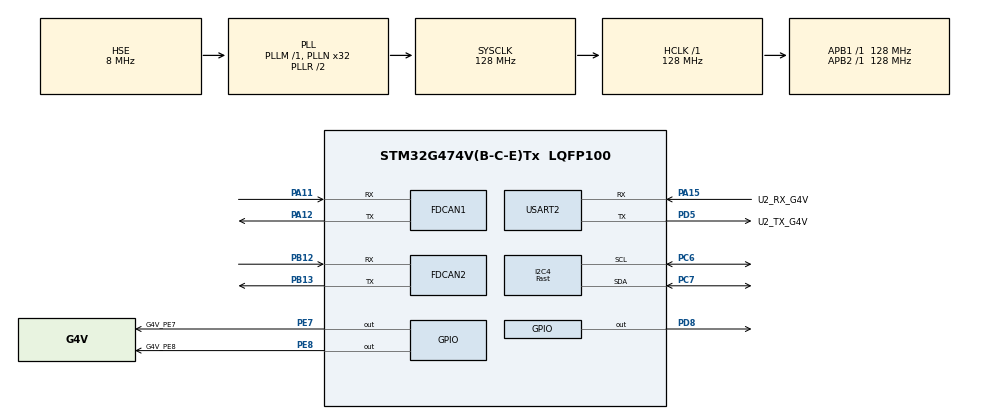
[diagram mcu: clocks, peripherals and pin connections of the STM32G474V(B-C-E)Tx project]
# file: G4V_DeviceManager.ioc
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FDCAN1.AutoRetransmission=ENABLE
FDCAN1.CalculateBaudRateNominal=1000000
FDCAN1.CalculateTimeBitNominal=1000
FDCAN1.CalculateTimeQuantumNominal=62.5
FDCAN1.DataPrescaler=4
FDCAN1.DataSyncJumpWidth=10
FDCAN1.DataTimeSeg1=10
FDCAN1.DataTimeSeg2=5
FDCAN1.ExtFiltersNbr=8
FDCAN1.FrameFormat=FDCAN_FRAME_CLASSIC
FDCAN1.Mode=FDCAN_MODE_NORMAL
FDCAN1.NominalPrescaler=8
FDCAN1.NominalSyncJumpWidth=10
FDCAN1.NominalTimeSeg1=10
FDCAN1.NominalTimeSeg2=5
FDCAN1.StdFiltersNbr=16
FDCAN2.AutoRetransmission=ENABLE
FDCAN2.CalculateBaudRateNominal=200000
FDCAN2.CalculateTimeBitNominal=5000
FDCAN2.CalculateTimeQuantumNominal=250.0
FDCAN2.DataPrescaler=10
FDCAN2.DataSyncJumpWidth=10
FDCAN2.DataTimeSeg1=8
FDCAN2.DataTimeSeg2=3
FDCAN2.NominalPrescaler=32
FDCAN2.NominalSyncJumpWidth=10
FDCAN2.NominalTimeSeg1=9
FDCAN2.NominalTimeSeg2=10
FDCAN2.StdFiltersNbr=16
I2C4.CustomTiming=Enabled
I2C4.I2C_Speed_Mode=I2C_Fast
I2C4.Timing=0x20A0C4DF
IWDG.Prescaler=IWDG_PRESCALER_64
IWDG.Reload=625
Mcu.Family=STM32G4
Mcu.Name=STM32G474V(B-C-E)Tx
Mcu.Package=LQFP100
NVIC.FDCAN1_IT0_IRQn=true\:0\:0\:false\:false\:true\:true\:true\:true
NVIC.FDCAN1_IT1_IRQn=true\:0\:0\:false\:false\:true\:true\:true\:true
NVIC.PriorityGroup=NVIC_PRIORITYGROUP_4
NVIC.USART2_IRQn=true\:0\:0\:false\:false\:true\:true\:true\:true
PA11.Mode=FDCAN_Activate
PA11.Signal=FDCAN1_RX
PA12.Mode=FDCAN_Activate
PA12.Signal=FDCAN1_TX
PA13.Mode=Serial_Wire
PA13.Signal=SYS_JTMS-SWDIO
PA14.Mode=Serial_Wire
PA14.Signal=SYS_JTCK-SWCLK
PA15.GPIO_Label=U2_RX_G4V
PA15.GPIO_Speed=GPIO_SPEED_FREQ_HIGH
PA15.Mode=Asynchronous
PA15.Signal=USART2_RX
PB12.Mode=FDCAN_Activate
PB12.Signal=FDCAN2_RX
PB13.Mode=FDCAN_Activate
PB13.Signal=FDCAN2_TX
PC6.Mode=I2C
PC6.Signal=I2C4_SCL
PC7.Mode=I2C
PC7.Signal=I2C4_SDA
PD5.GPIO_Label=U2_TX_G4V
PD5.GPIO_Speed=GPIO_SPEED_FREQ_HIGH
PD5.Mode=Asynchronous
PD5.Signal=USART2_TX
PD8.GPIO_Speed=GPIO_SPEED_FREQ_HIGH
PD8.PinState=GPIO_PIN_SET
PD8.Signal=GPIO_Output
PE7.GPIO_Label=G4V_PE7
PE7.GPIO_Speed=GPIO_SPEED_FREQ_HIGH
PE7.PinState=GPIO_PIN_SET
PE7.Signal=GPIO_Output
PE8.GPIO_Label=G4V_PE8
PE8.GPIO_Speed=GPIO_SPEED_FREQ_HIGH
PE8.PinState=GPIO_PIN_SET
PE8.Signal=GPIO_Output
PF0-OSC_IN.Mode=HSE-External-Oscillator
PF0-OSC_IN.Signal=RCC_OSC_IN
PF1-OSC_OUT.Mode=HSE-External-Oscillator
PF1-OSC_OUT.Signal=RCC_OSC_OUT
ProjectManager.HeapSize=0x200
ProjectManager.StackSize=0x400
ProjectManager.TargetToolchain=MDK-ARM V5.32
RCC.ADC12Freq_Value=128000000
RCC.ADC345Freq_Value=128000000
RCC.AHBFreq_Value=128000000
RCC.APB1Freq_Value=128000000
RCC.APB1TimFreq_Value=128000000
RCC.APB2Freq_Value=128000000
RCC.APB2TimFreq_Value=128000000
RCC.CortexFreq_Value=128000000
RCC.EXTERNAL_CLOCK_VALUE=12288000
RCC.HCLKFreq_Value=128000000
RCC.HSE_VALUE=8000000
RCC.HSI48_VALUE=48000000
RCC.HSI_VALUE=16000000
RCC.LSE_VALUE=32768
RCC.PLLN=32
RCC.PLLSourceVirtual=RCC_PLLSOURCE_HSE
RCC.SYSCLKFreq_VALUE=128000000
RCC.SYSCLKSource=RCC_SYSCLKSOURCE_PLLCLK
RCC.USBFreq_Value=128000000
RCC.VCOOutputFreq_Value=256000000
USART2.VirtualMode-Asynchronous=VM_ASYNC
VP_IWDG_VS_IWDG.Mode=IWDG_Activate
VP_SYS_VS_DBSignals.Mode=DisableDeadBatterySignals
board=custom

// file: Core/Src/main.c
/* USER CODE BEGIN Header */
/**
  ******************************************************************************
  * @file           : main.c
  * @brief          : Main program body
  ******************************************************************************
  * @attention
  *
  * Copyright (c) 2025 STMicroelectronics.
  * All rights reserved.
  *
  * This software is licensed under terms that can be found in the LICENSE file
  * in the root directory of this software component.
  * If no LICENSE file comes with this software, it is provided AS-IS.
  *
  ******************************************************************************
  */
/* USER CODE END Header */
#include "main.h"
#include "fdcan.h"
#include "i2c.h"
#include "iwdg.h"
#include "usart.h"
#include "gpio.h"

/* USER CODE BEGIN Includes */
#include <stdio.h>
#include <string.h>

#include "can_process.h"
#include "ms5837.h"
/* USER CODE END Includes */

/* USER CODE BEGIN PV */
float measureddepth = 0;
float realdepth     = 0;
float startdepth    = 0;
float checkeddepth  = 0;
float temperature;
uint8_t can_tx_data[8];
/* USER CODE END PV */

void SystemClock_Config(void);

int main(void)
{

  /* MCU Configuration--------------------------------------------------------*/

  /* Reset of all peripherals, Initializes the Flash interface and the Systick. */
  HAL_Init();

  /* Configure the system clock */
  SystemClock_Config();

  /* Initialize all configured peripherals */
  MX_GPIO_Init();
  MX_FDCAN1_Init();
  MX_USART2_UART_Init();
  MX_FDCAN2_Init();
  MX_I2C4_Init();
  MX_IWDG_Init();
  /* USER CODE BEGIN 2 */
  HAL_IWDG_Refresh(&hiwdg);//重置看门狗计数
  FDCAN1_Config();

  Ms5837Init(&hi2c4);
  Ms5837Depth(&startdepth);
  checkeddepth = startdepth;
  /* USER CODE END 2 */

  /* Infinite loop */
  while (1)
  {

    /* USER CODE BEGIN 3 */
    Ms5837Read(&hi2c4);
    Ms5837Temperature(&temperature);
    Ms5837Depth(&measureddepth);
    realdepth = measureddepth - startdepth;  // 计算相对深度

    /* 数据打包和发送 */
    PackSensorData(temperature, realdepth, can_tx_data);
    if(temperature != 0.0f)
    {
      HAL_IWDG_Refresh(&hiwdg);//重置看门狗计数
    }
    // HAL_UART_Transmit_IT(&huart2, can_tx_data, 8);
    // Canfd1Transmit64(0x000 + 0x005, can_tx_data);
    Canfd1Transmit64(0x000 + 0x005, can_tx_data);
    HAL_GPIO_TogglePin(GPIOE, GPIO_PIN_7);
    HAL_Delay(20);  // 发送间隔50ms（可根据需要调整）
  }
  /* USER CODE END 3 */
}

void SystemClock_Config(void)
{
  RCC_OscInitTypeDef RCC_OscInitStruct = {0};
  RCC_ClkInitTypeDef RCC_ClkInitStruct = {0};

  /** Configure the main internal regulator output voltage
  */
  HAL_PWREx_ControlVoltageScaling(PWR_REGULATOR_VOLTAGE_SCALE1);

  /** Initializes the RCC Oscillators according to the specified parameters
  * in the RCC_OscInitTypeDef structure.
  */
  RCC_OscInitStruct.OscillatorType = RCC_OSCILLATORTYPE_LSI|RCC_OSCILLATORTYPE_HSE;
  RCC_OscInitStruct.HSEState = RCC_HSE_ON;
  RCC_OscInitStruct.LSIState = RCC_LSI_ON;
  RCC_OscInitStruct.PLL.PLLState = RCC_PLL_ON;
  RCC_OscInitStruct.PLL.PLLSource = RCC_PLLSOURCE_HSE;
  RCC_OscInitStruct.PLL.PLLM = RCC_PLLM_DIV1;
  RCC_OscInitStruct.PLL.PLLN = 32;
  RCC_OscInitStruct.PLL.PLLP = RCC_PLLP_DIV2;
  RCC_OscInitStruct.PLL.PLLQ = RCC_PLLQ_DIV2;
  RCC_OscInitStruct.PLL.PLLR = RCC_PLLR_DIV2;
  if (HAL_RCC_OscConfig(&RCC_OscInitStruct) != HAL_OK)
  {
    Error_Handler();
  }

  /** Initializes the CPU, AHB and APB buses clocks
  */
  RCC_ClkInitStruct.ClockType = RCC_CLOCKTYPE_HCLK|RCC_CLOCKTYPE_SYSCLK
                              |RCC_CLOCKTYPE_PCLK1|RCC_CLOCKTYPE_PCLK2;
  RCC_ClkInitStruct.SYSCLKSource = RCC_SYSCLKSOURCE_PLLCLK;
  RCC_ClkInitStruct.AHBCLKDivider = RCC_SYSCLK_DIV1;
  RCC_ClkInitStruct.APB1CLKDivider = RCC_HCLK_DIV1;
  RCC_ClkInitStruct.APB2CLKDivider = RCC_HCLK_DIV1;

  if (HAL_RCC_ClockConfig(&RCC_ClkInitStruct, FLASH_LATENCY_4) != HAL_OK)
  {
    Error_Handler();
  }
}

void Error_Handler(void)
{
  __disable_irq();
  while (1)
  {
  }
}
